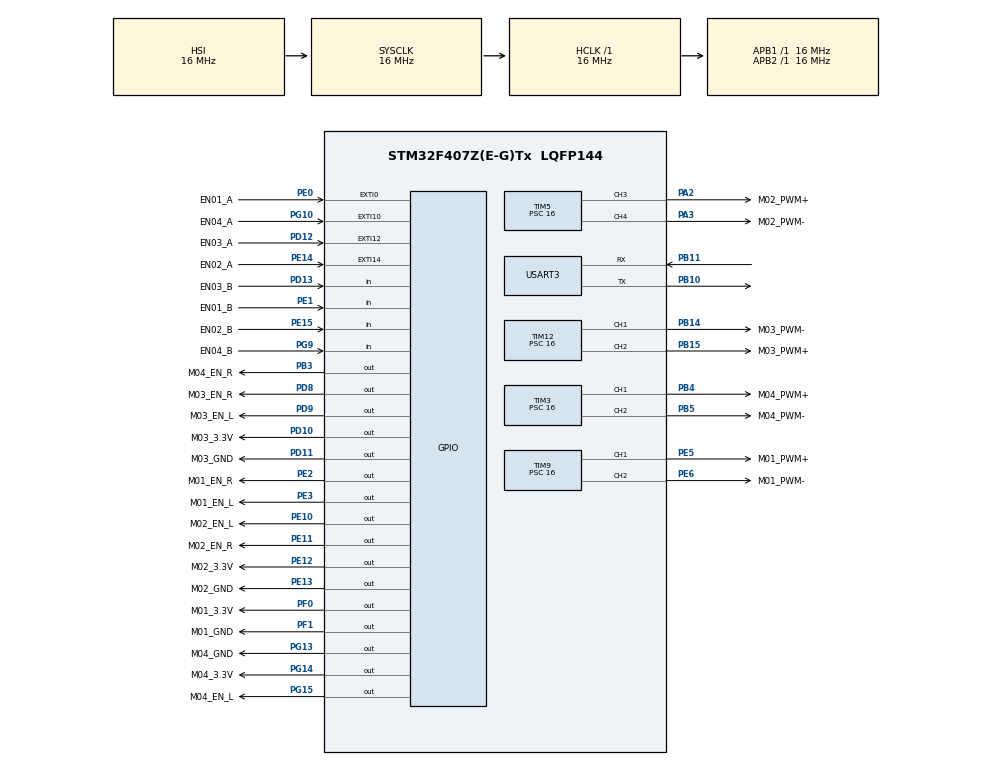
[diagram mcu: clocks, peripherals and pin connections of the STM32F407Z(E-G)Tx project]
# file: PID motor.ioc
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Mcu.Family=STM32F4
Mcu.Name=STM32F407Z(E-G)Tx
Mcu.Package=LQFP144
NVIC.EXTI0_IRQn=true\:2\:0\:true\:false\:true\:true\:true
NVIC.EXTI15_10_IRQn=true\:2\:0\:true\:false\:true\:true\:true
NVIC.PriorityGroup=NVIC_PRIORITYGROUP_4
NVIC.TIM2_IRQn=true\:1\:0\:true\:false\:true\:true\:true
NVIC.USART3_IRQn=true\:0\:0\:false\:false\:true\:true\:true
PA13.Mode=Serial_Wire
PA13.Signal=SYS_JTMS-SWDIO
PA14.Mode=Serial_Wire
PA14.Signal=SYS_JTCK-SWCLK
PA2.GPIO_Label=M02_PWM+
PA2.Signal=S_TIM5_CH3
PA3.GPIO_Label=M02_PWM-
PA3.Signal=S_TIM5_CH4
PB10.Mode=Asynchronous
PB10.Signal=USART3_TX
PB11.Mode=Asynchronous
PB11.Signal=USART3_RX
PB14.GPIO_Label=M03_PWM-
PB14.Signal=S_TIM12_CH1
PB15.GPIO_Label=M03_PWM+
PB15.Signal=S_TIM12_CH2
PB3.GPIO_Label=M04_EN_R
PB3.PinState=GPIO_PIN_RESET
PB3.Signal=GPIO_Output
PB4.GPIO_Label=M04_PWM+
PB4.Signal=S_TIM3_CH1
PB5.GPIO_Label=M04_PWM-
PB5.Signal=S_TIM3_CH2
PD10.GPIO_Label=M03_3.3V
PD10.PinState=GPIO_PIN_SET
PD10.Signal=GPIO_Output
PD11.GPIO_Label=M03_GND
PD11.Signal=GPIO_Output
PD12.GPIO_Label=EN03_A
PD12.GPIO_ModeDefaultEXTI=GPIO_MODE_IT_FALLING
PD12.GPIO_PuPd=GPIO_PULLUP
PD12.Signal=GPXTI12
PD13.GPIO_Label=EN03_B
PD13.Signal=GPIO_Input
PD8.GPIO_Label=M03_EN_R
PD8.PinState=GPIO_PIN_RESET
PD8.Signal=GPIO_Output
PD9.GPIO_Label=M03_EN_L
PD9.PinState=GPIO_PIN_RESET
PD9.Signal=GPIO_Output
PE0.GPIO_Label=EN01_A
PE0.GPIO_ModeDefaultEXTI=GPIO_MODE_IT_FALLING
PE0.GPIO_PuPd=GPIO_PULLUP
PE0.Signal=GPXTI0
PE1.GPIO_Label=EN01_B
PE1.Signal=GPIO_Input
PE10.GPIO_Label=M02_EN_L
PE10.PinState=GPIO_PIN_RESET
PE10.Signal=GPIO_Output
PE11.GPIO_Label=M02_EN_R
PE11.PinState=GPIO_PIN_RESET
PE11.Signal=GPIO_Output
PE12.GPIO_Label=M02_3.3V
PE12.PinState=GPIO_PIN_SET
PE12.Signal=GPIO_Output
PE13.GPIO_Label=M02_GND
PE13.Signal=GPIO_Output
PE14.GPIO_Label=EN02_A
PE14.GPIO_ModeDefaultEXTI=GPIO_MODE_IT_FALLING
PE14.GPIO_PuPd=GPIO_PULLUP
PE14.Signal=GPXTI14
PE15.GPIO_Label=EN02_B
PE15.Signal=GPIO_Input
PE2.GPIO_Label=M01_EN_R
PE2.PinState=GPIO_PIN_RESET
PE2.Signal=GPIO_Output
PE3.GPIO_Label=M01_EN_L
PE3.PinState=GPIO_PIN_RESET
PE3.Signal=GPIO_Output
PE5.GPIO_Label=M01_PWM+
PE5.Signal=S_TIM9_CH1
PE6.GPIO_Label=M01_PWM-
PE6.Signal=S_TIM9_CH2
PF0.GPIO_Label=M01_3.3V
PF0.PinState=GPIO_PIN_SET
PF0.Signal=GPIO_Output
PF1.GPIO_Label=M01_GND
PF1.Signal=GPIO_Output
PG10.GPIO_Label=EN04_A
PG10.GPIO_ModeDefaultEXTI=GPIO_MODE_IT_FALLING
PG10.GPIO_PuPd=GPIO_PULLUP
PG10.Signal=GPXTI10
PG13.GPIO_Label=M04_GND
PG13.Signal=GPIO_Output
PG14.GPIO_Label=M04_3.3V
PG14.PinState=GPIO_PIN_SET
PG14.Signal=GPIO_Output
PG15.GPIO_Label=M04_EN_L
PG15.PinState=GPIO_PIN_RESET
PG15.Signal=GPIO_Output
PG9.GPIO_Label=EN04_B
PG9.Signal=GPIO_Input
ProjectManager.HeapSize=0x200
ProjectManager.StackSize=0x400
ProjectManager.TargetToolchain=MDK-ARM V5.27
RCC.AHBFreq_Value=16000000
RCC.APB1Freq_Value=16000000
RCC.APB2Freq_Value=16000000
RCC.CortexFreq_Value=16000000
RCC.HSE_VALUE=25000000
RCC.HSI_VALUE=16000000
RCC.LSE_VALUE=32768
RCC.SYSCLKFreq_VALUE=16000000
RCC.VCOOutputFreq_Value=192000000
SH.S_TIM12_CH1.0=TIM12_CH1,PWM Generation1 CH1
SH.S_TIM12_CH2.0=TIM12_CH2,PWM Generation2 CH2
SH.S_TIM3_CH1.0=TIM3_CH1,PWM Generation1 CH1
SH.S_TIM3_CH2.0=TIM3_CH2,PWM Generation2 CH2
SH.S_TIM5_CH3.0=TIM5_CH3,PWM Generation3 CH3
SH.S_TIM5_CH4.0=TIM5_CH4,PWM Generation4 CH4
SH.S_TIM9_CH1.0=TIM9_CH1,PWM Generation1 CH1
SH.S_TIM9_CH2.0=TIM9_CH2,PWM Generation2 CH2
TIM12.Channel-PWM\ Generation1\ CH1=TIM_CHANNEL_1
TIM12.Channel-PWM\ Generation2\ CH2=TIM_CHANNEL_2
TIM12.Period=999
TIM12.Prescaler=16
TIM2.Period=99
TIM2.Prescaler=16000
TIM3.Channel-PWM\ Generation1\ CH1=TIM_CHANNEL_1
TIM3.Channel-PWM\ Generation2\ CH2=TIM_CHANNEL_2
TIM3.Period=999
TIM3.Prescaler=16
TIM5.Channel-PWM\ Generation3\ CH3=TIM_CHANNEL_3
TIM5.Channel-PWM\ Generation4\ CH4=TIM_CHANNEL_4
TIM5.Period=999
TIM5.Prescaler=16
TIM9.Channel-PWM\ Generation1\ CH1=TIM_CHANNEL_1
TIM9.Channel-PWM\ Generation2\ CH2=TIM_CHANNEL_2
TIM9.Period=999
TIM9.Prescaler=16
USART3.VirtualMode=VM_ASYNC
VP_TIM12_VS_ClockSourceINT.Mode=Internal
VP_TIM2_VS_ClockSourceINT.Mode=Internal
VP_TIM3_VS_ClockSourceINT.Mode=Internal
VP_TIM5_VS_ClockSourceINT.Mode=Internal
VP_TIM9_VS_ClockSourceINT.Mode=Internal
board=custom

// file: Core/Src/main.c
/* USER CODE BEGIN Header */
/**
  ******************************************************************************
  * @file           : main.c
  * @brief          : Main program body
  ******************************************************************************
  * @attention
  *
  * <h2><center>&copy; Copyright (c) 2020 STMicroelectronics.
  * All rights reserved.</center></h2>
  *
  * This software component is licensed by ST under BSD 3-Clause license,
  * the "License"; You may not use this file except in compliance with the
  * License. You may obtain a copy of the License at:
  *                        opensource.org/licenses/BSD-3-Clause
  *
  ******************************************************************************
  */
/* USER CODE END Header */
#include "main.h"

/* USER CODE BEGIN Includes */
#include "stdio.h"
#include "stdlib.h"
#include "string.h"
#include "math.h"
/* USER CODE END Includes */

TIM_HandleTypeDef htim2;
TIM_HandleTypeDef htim3;
TIM_HandleTypeDef htim5;
TIM_HandleTypeDef htim9;
TIM_HandleTypeDef htim12;

UART_HandleTypeDef huart3;

/* USER CODE BEGIN PV */
// UART variable
uint8_t rx_data;
int rx_index = 0;
char rx_buffer[25];
char temp[100];

int check_var = 0;
//encoder variable
int pulse_counter1 = 0, pulse_counter2 = 0, pulse_counter3 = 0, pulse_counter4 = 0;

//velocity variable
float M_PI = 3.14;
double k = 0.707106;// 1/can bac 2 cua 2
float vx = 0, vy = 0, w_angle = 0;// toc do doc/ngang/goc(rad/s) cua Robot
float w_reference1_temp = 0, w_reference2_temp = 0, w_reference3_temp = 0, w_reference4_temp = 0;// toc do goc tham chieu cua robot
float w_reference1 = 0, w_reference2 = 0, w_reference3 = 0, w_reference4 = 0;// chuyen doi gia tri toc do goc  tham chieu sang rad/s
float w1 = 0, w2 = 0, w3 = 0, w4 = 0;// toc do hien tai
float e1 = 0, e2 = 0, e3 = 0, e4 = 0;// sai so giua xung yeu cau va xung thuc te
float pre_e1 = 0, pre_e2 = 0, pre_e3 = 0, pre_e4 = 0;// luu gia tri sai so truoc do. De tinh toan su thay doi cua sai so giua 2 lan
float const max_pwm = 350;

//robot variable
float const d_robot = 0.28;	//robot radius(khoang cach tu Robot den truc cua banh xe , banh kinh quay)
float const r_wheel = 0.075; //bk banh xe

//PID parameters
float kP = 2, kI = 0.08, kD = 0;

float pPart1 = 0, pPart2 = 0, pPart3 = 0, pPart4 = 0;
float iPart1 = 0, iPart2 = 0, iPart3 = 0, iPart4 = 0;
float dPart1 = 0, dPart2 = 0, dPart3 = 0, dPart4 = 0;
float PID_signal1 = 0, PID_signal2 = 0, PID_signal3 = 0, PID_signal4 = 0;
// tin hieu duong(quay thuan) va am(nghich)
float signal_pos1 = 0, signal_neg1 = 0;
float signal_pos2 = 0, signal_neg2 = 0;
float signal_pos3 = 0, signal_neg3 = 0;
float signal_pos4 = 0, signal_neg4 = 0;

// Posion calcalate
float w1_rad = 0, w2_rad = 0, w3_rad = 0, w4_rad = 0;// toc do hien tai ( Rad/s)
float v_wheel1 = 0, v_wheel2 = 0, v_wheel3 = 0, v_wheel4 = 0; // van toc cua banh xe bang toc do goc * ban kinh banh xe sang van toc tuýen tính
float Vxx = 0, Vyy = 0, Omega = 0;// van toc tuyen tinh
float delta_x = 0, delta_y = 0, delta_Theta = 0;// thay doi vi tri x,y,goc quay cua robot sau moi buoc lap
float x_robot = 0, y_robot = 0, Theta = 0;// vi tri x,y, goc quay robot trong khong gian.
float const dt = 0.1;// thoi gian lay mau

/* USER CODE END PV */

void SystemClock_Config(void);
static void MX_GPIO_Init(void);
static void MX_TIM3_Init(void);
static void MX_TIM2_Init(void);
static void MX_USART3_UART_Init(void);
static void MX_TIM9_Init(void);
static void MX_TIM12_Init(void);
static void MX_TIM5_Init(void);

/* USER CODE BEGIN 0 */
void Init_Motor1()
{
	////Enable built-in chip H-bridge
	HAL_GPIO_WritePin(GPIOF, GPIO_PIN_0, 1);			//bridge1 3.3V
	HAL_GPIO_WritePin(GPIOF, GPIO_PIN_1, 0);			//bridge1 GND
	////Enable H-bridge
	HAL_GPIO_WritePin(GPIOE, GPIO_PIN_2, 1);			//bridge1 EN_R
	HAL_GPIO_WritePin(GPIOE, GPIO_PIN_3, 1);			//bridge1 EN_L
	////Start PWM
	//PWM Motor 1
	HAL_TIM_PWM_Start(&htim9, TIM_CHANNEL_1);			//Motor1 +
	HAL_TIM_PWM_Start(&htim9, TIM_CHANNEL_2);			//Motor1 -

	__HAL_TIM_SetCompare(&htim9, TIM_CHANNEL_1, 0);
	__HAL_TIM_SetCompare(&htim9, TIM_CHANNEL_2, 0);
}

void Init_Motor2()
{
	////Enable built-in chip H-bridge
	HAL_GPIO_WritePin(GPIOE, GPIO_PIN_12, 1);			//bridge1 3.3V
	HAL_GPIO_WritePin(GPIOE, GPIO_PIN_13, 0);			//bridge1 GND
	////Enable H-bridge
	HAL_GPIO_WritePin(GPIOE, GPIO_PIN_11, 1);			//bridge1 EN_R
	HAL_GPIO_WritePin(GPIOE, GPIO_PIN_10, 1);			//bridge1 EN_L
	////Start PWM
	//PWM Motor 2
	HAL_TIM_PWM_Start(&htim5, TIM_CHANNEL_3);			//Motor2 +
	HAL_TIM_PWM_Start(&htim5, TIM_CHANNEL_4);			//Motor2 -

	__HAL_TIM_SetCompare(&htim5,TIM_CHANNEL_3, 0);
	__HAL_TIM_SetCompare(&htim5,TIM_CHANNEL_4, 0);

}

void Init_Motor3()
{
	////Enable built-in chip H-bridge
	HAL_GPIO_WritePin(GPIOD, GPIO_PIN_10, 1);			//bridge1 3.3V
	HAL_GPIO_WritePin(GPIOD, GPIO_PIN_11, 0);			//bridge1 GND
	////Enable H-bridge
	HAL_GPIO_WritePin(GPIOD, GPIO_PIN_8, 1);			//bridge1 EN_R
	HAL_GPIO_WritePin(GPIOD, GPIO_PIN_9, 1);			//bridge1 EN_L
	////Start PWM
	//PWM Motor 3
	HAL_TIM_PWM_Start(&htim12, TIM_CHANNEL_1);		//Motor3 +
	HAL_TIM_PWM_Start(&htim12, TIM_CHANNEL_2);		//Motor3 -

	__HAL_TIM_SetCompare(&htim12,TIM_CHANNEL_1, 0);
	__HAL_TIM_SetCompare(&htim12,TIM_CHANNEL_2, 0);
}

void Init_Motor4()
{
	////Enable built-in chip H-bridge
	HAL_GPIO_WritePin(GPIOG, GPIO_PIN_14, 1);			//bridge1 3.3V
	HAL_GPIO_WritePin(GPIOG, GPIO_PIN_13, 0);			//bridge1 GND
	////Enable H-bridge
	HAL_GPIO_WritePin(GPIOB, GPIO_PIN_3, 1);			//bridge1 EN_R
	HAL_GPIO_WritePin(GPIOG, GPIO_PIN_15, 1);			//bridge1 EN_L
	////Start PWM
	//PWM Motor 4
	HAL_TIM_PWM_Start(&htim3, TIM_CHANNEL_1);			//Motor4 +
	HAL_TIM_PWM_Start(&htim3, TIM_CHANNEL_2);			//Motor4 -

	__HAL_TIM_SetCompare(&htim3,TIM_CHANNEL_1, 0);
	__HAL_TIM_SetCompare(&htim3,TIM_CHANNEL_2, 0);
}

void check_w_ref()
{
	sprintf(temp, "vx_ref = %.2f\n", vx);
	HAL_UART_Transmit(&huart3, (uint8_t *)temp, strlen(temp), 10);
	HAL_Delay(100);
	sprintf(temp, "vy_ref = %.2f\n", vy);
	HAL_UART_Transmit(&huart3, (uint8_t *)temp, strlen(temp), 10);
	HAL_Delay(100);
	sprintf(temp, "w_ref = %.2f\n", w_angle);
	HAL_UART_Transmit(&huart3, (uint8_t *)temp, strlen(temp), 10);
	HAL_Delay(100);

	sprintf(temp, "w1_temp = %.2f, w1_ref = %.2f\n", w_reference1_temp ,w_reference1);
	HAL_UART_Transmit(&huart3, (uint8_t *)temp, strlen(temp), 10);
	HAL_Delay(100);
	sprintf(temp, "w2_temp = %.2f, w2_ref = %.2f\n", w_reference2_temp ,w_reference2);
	HAL_UART_Transmit(&huart3, (uint8_t *)temp, strlen(temp), 10);
	HAL_Delay(100);
	sprintf(temp, "w3_temp = %.2f, w3_ref = %.2f\n", w_reference3_temp ,w_reference3);
	HAL_UART_Transmit(&huart3, (uint8_t *)temp, strlen(temp), 10);
	HAL_Delay(100);
	sprintf(temp, "w4_temp = %.2f, w4_ref = %.2f\n", w_reference4_temp ,w_reference4);
	HAL_UART_Transmit(&huart3, (uint8_t *)temp, strlen(temp), 10);
	HAL_Delay(100);
	HAL_Delay(2000);
}

void signal_feedback_PID_parameter()
{
	sprintf(temp, "P%.2fp\n", kP);
	HAL_UART_Transmit(&huart3, (uint8_t *)temp, strlen(temp), 10);
	HAL_Delay(100);
	sprintf(temp, "I%.2fi\n", kI);
	HAL_UART_Transmit(&huart3, (uint8_t *)temp, strlen(temp), 10);
	HAL_Delay(100);
	sprintf(temp, "D%.2fd\n", kD);
	HAL_UART_Transmit(&huart3, (uint8_t *)temp, strlen(temp), 10);
	HAL_Delay(2000);
}

void signal_feedback_w_wheel()
{
	sprintf(temp, "w1 = %.2f rpm r\n", w1);
	HAL_UART_Transmit(&huart3, (uint8_t *)temp, strlen(temp), 10);
	HAL_Delay(100);
	sprintf(temp, "w2 = %.2f rpm r\n", w2);
	HAL_UART_Transmit(&huart3, (uint8_t *)temp, strlen(temp), 10);
	HAL_Delay(100);
	sprintf(temp, "w3 = %.2f rpm r\n", w3);
	HAL_UART_Transmit(&huart3, (uint8_t *)temp, strlen(temp), 10);
	HAL_Delay(100);
	sprintf(temp, "w4 = %.2f rpm r\n", w4);
	HAL_UART_Transmit(&huart3, (uint8_t *)temp, strlen(temp), 10);
	HAL_Delay(2000);
}

void signal_feedback_error()
{
	sprintf(temp, "e1 = %.2f rpm r\n", e1);
	HAL_UART_Transmit(&huart3, (uint8_t *)temp, strlen(temp), 10);
	HAL_Delay(100);
	sprintf(temp, "e2 = %.2f rpm r\n", e2);
	HAL_UART_Transmit(&huart3, (uint8_t *)temp, strlen(temp), 10);
	HAL_Delay(100);
	sprintf(temp, "e3 = %.2f rpm r\n", e3);
	HAL_UART_Transmit(&huart3, (uint8_t *)temp, strlen(temp), 10);
	HAL_Delay(100);
	sprintf(temp, "e4 = %.2f rpm r\n", e4);
	HAL_UART_Transmit(&huart3, (uint8_t *)temp, strlen(temp), 10);
	HAL_Delay(2000);
}

void position_feedback()
{
	sprintf(temp, "%.2fj %.2fk %.2fl ", Vxx, Vyy, Omega);
	HAL_UART_Transmit(&huart3, (uint8_t *)temp, strlen(temp), 10);
	HAL_Delay(50);
}

/* USER CODE END 0 */

int main(void)
{

  /* MCU Configuration--------------------------------------------------------*/

  /* Reset of all peripherals, Initializes the Flash interface and the Systick. */
  HAL_Init();

  /* Configure the system clock */
  SystemClock_Config();

  /* Initialize all configured peripherals */
  MX_GPIO_Init();
  MX_TIM3_Init();
  MX_TIM2_Init();
  MX_USART3_UART_Init();
  MX_TIM9_Init();
  MX_TIM12_Init();
  MX_TIM5_Init();
  /* USER CODE BEGIN 2 */
  ////Start Timer Interrupt for sampling time!!!
  HAL_TIM_Base_Start_IT(&htim2);
  ////Start UART Receive interupt
  HAL_UART_Receive_IT(&huart3, &rx_data, 1);

  Init_Motor1();
  Init_Motor2();
  Init_Motor3();
  Init_Motor4();

  //check_var = 5;
  /* USER CODE END 2 */

  /* Infinite loop */
  /* USER CODE BEGIN WHILE */
  check_var = 1;
  while (1)
  {
    /* USER CODE END WHILE */

    /* USER CODE BEGIN 3 */
	  if(check_var == 0)
	  {
		  check_w_ref();
	  }
	  if(check_var == 1)
	  {
		  signal_feedback_w_wheel();
	  }
	  if(check_var == 2)
	  {
		  signal_feedback_error();
	  }
	  if(check_var == 3)
	  {
		  signal_feedback_PID_parameter();
	  }
	  if(check_var == 4)
	  {
		  position_feedback();
	  }
  }
  /* USER CODE END 3 */
}

void SystemClock_Config(void)
{
  RCC_OscInitTypeDef RCC_OscInitStruct = {0};
  RCC_ClkInitTypeDef RCC_ClkInitStruct = {0};

  /** Configure the main internal regulator output voltage
  */
  __HAL_RCC_PWR_CLK_ENABLE();
  __HAL_PWR_VOLTAGESCALING_CONFIG(PWR_REGULATOR_VOLTAGE_SCALE1);
  /** Initializes the RCC Oscillators according to the specified parameters
  * in the RCC_OscInitTypeDef structure.
  */
  RCC_OscInitStruct.OscillatorType = RCC_OSCILLATORTYPE_HSI;
  RCC_OscInitStruct.HSIState = RCC_HSI_ON;
  RCC_OscInitStruct.HSICalibrationValue = RCC_HSICALIBRATION_DEFAULT;
  RCC_OscInitStruct.PLL.PLLState = RCC_PLL_NONE;
  if (HAL_RCC_OscConfig(&RCC_OscInitStruct) != HAL_OK)
  {
    Error_Handler();
  }
  /** Initializes the CPU, AHB and APB buses clocks
  */
  RCC_ClkInitStruct.ClockType = RCC_CLOCKTYPE_HCLK|RCC_CLOCKTYPE_SYSCLK
                              |RCC_CLOCKTYPE_PCLK1|RCC_CLOCKTYPE_PCLK2;
  RCC_ClkInitStruct.SYSCLKSource = RCC_SYSCLKSOURCE_HSI;
  RCC_ClkInitStruct.AHBCLKDivider = RCC_SYSCLK_DIV1;
  RCC_ClkInitStruct.APB1CLKDivider = RCC_HCLK_DIV1;
  RCC_ClkInitStruct.APB2CLKDivider = RCC_HCLK_DIV1;

  if (HAL_RCC_ClockConfig(&RCC_ClkInitStruct, FLASH_LATENCY_0) != HAL_OK)
  {
    Error_Handler();
  }
}

static void MX_TIM2_Init(void)
{

  TIM_ClockConfigTypeDef sClockSourceConfig = {0};
  TIM_MasterConfigTypeDef sMasterConfig = {0};

  htim2.Instance = TIM2;
  htim2.Init.Prescaler = 16000;
  htim2.Init.CounterMode = TIM_COUNTERMODE_UP;
  htim2.Init.Period = 99;
  htim2.Init.ClockDivision = TIM_CLOCKDIVISION_DIV1;
  htim2.Init.AutoReloadPreload = TIM_AUTORELOAD_PRELOAD_DISABLE;
  if (HAL_TIM_Base_Init(&htim2) != HAL_OK)
  {
    Error_Handler();
  }
  sClockSourceConfig.ClockSource = TIM_CLOCKSOURCE_INTERNAL;
  if (HAL_TIM_ConfigClockSource(&htim2, &sClockSourceConfig) != HAL_OK)
  {
    Error_Handler();
  }
  sMasterConfig.MasterOutputTrigger = TIM_TRGO_RESET;
  sMasterConfig.MasterSlaveMode = TIM_MASTERSLAVEMODE_DISABLE;
  if (HAL_TIMEx_MasterConfigSynchronization(&htim2, &sMasterConfig) != HAL_OK)
  {
    Error_Handler();
  }

}

static void MX_TIM3_Init(void)
{

  TIM_ClockConfigTypeDef sClockSourceConfig = {0};
  TIM_MasterConfigTypeDef sMasterConfig = {0};
  TIM_OC_InitTypeDef sConfigOC = {0};

  htim3.Instance = TIM3;
  htim3.Init.Prescaler = 16;
  htim3.Init.CounterMode = TIM_COUNTERMODE_UP;
  htim3.Init.Period = 999;
  htim3.Init.ClockDivision = TIM_CLOCKDIVISION_DIV1;
  htim3.Init.AutoReloadPreload = TIM_AUTORELOAD_PRELOAD_DISABLE;
  if (HAL_TIM_Base_Init(&htim3) != HAL_OK)
  {
    Error_Handler();
  }
  sClockSourceConfig.ClockSource = TIM_CLOCKSOURCE_INTERNAL;
  if (HAL_TIM_ConfigClockSource(&htim3, &sClockSourceConfig) != HAL_OK)
  {
    Error_Handler();
  }
  if (HAL_TIM_PWM_Init(&htim3) != HAL_OK)
  {
    Error_Handler();
  }
  sMasterConfig.MasterOutputTrigger = TIM_TRGO_RESET;
  sMasterConfig.MasterSlaveMode = TIM_MASTERSLAVEMODE_DISABLE;
  if (HAL_TIMEx_MasterConfigSynchronization(&htim3, &sMasterConfig) != HAL_OK)
  {
    Error_Handler();
  }
  sConfigOC.OCMode = TIM_OCMODE_PWM1;
  sConfigOC.Pulse = 0;
  sConfigOC.OCPolarity = TIM_OCPOLARITY_HIGH;
  sConfigOC.OCFastMode = TIM_OCFAST_DISABLE;
  if (HAL_TIM_PWM_ConfigChannel(&htim3, &sConfigOC, TIM_CHANNEL_1) != HAL_OK)
  {
    Error_Handler();
  }
  if (HAL_TIM_PWM_ConfigChannel(&htim3, &sConfigOC, TIM_CHANNEL_2) != HAL_OK)
  {
    Error_Handler();
  }
  HAL_TIM_MspPostInit(&htim3);

}

static void MX_TIM5_Init(void)
{

  TIM_ClockConfigTypeDef sClockSourceConfig = {0};
  TIM_MasterConfigTypeDef sMasterConfig = {0};
  TIM_OC_InitTypeDef sConfigOC = {0};

  htim5.Instance = TIM5;
  htim5.Init.Prescaler = 16;
  htim5.Init.CounterMode = TIM_COUNTERMODE_UP;
  htim5.Init.Period = 999;
  htim5.Init.ClockDivision = TIM_CLOCKDIVISION_DIV1;
  htim5.Init.AutoReloadPreload = TIM_AUTORELOAD_PRELOAD_DISABLE;
  if (HAL_TIM_Base_Init(&htim5) != HAL_OK)
  {
    Error_Handler();
  }
  sClockSourceConfig.ClockSource = TIM_CLOCKSOURCE_INTERNAL;
  if (HAL_TIM_ConfigClockSource(&htim5, &sClockSourceConfig) != HAL_OK)
  {
    Error_Handler();
  }
  if (HAL_TIM_PWM_Init(&htim5) != HAL_OK)
  {
    Error_Handler();
  }
  sMasterConfig.MasterOutputTrigger = TIM_TRGO_RESET;
  sMasterConfig.MasterSlaveMode = TIM_MASTERSLAVEMODE_DISABLE;
  if (HAL_TIMEx_MasterConfigSynchronization(&htim5, &sMasterConfig) != HAL_OK)
  {
    Error_Handler();
  }
  sConfigOC.OCMode = TIM_OCMODE_PWM1;
  sConfigOC.Pulse = 0;
  sConfigOC.OCPolarity = TIM_OCPOLARITY_HIGH;
  sConfigOC.OCFastMode = TIM_OCFAST_DISABLE;
  if (HAL_TIM_PWM_ConfigChannel(&htim5, &sConfigOC, TIM_CHANNEL_3) != HAL_OK)
  {
    Error_Handler();
  }
  if (HAL_TIM_PWM_ConfigChannel(&htim5, &sConfigOC, TIM_CHANNEL_4) != HAL_OK)
  {
    Error_Handler();
  }
  HAL_TIM_MspPostInit(&htim5);

}

static void MX_TIM9_Init(void)
{

  TIM_ClockConfigTypeDef sClockSourceConfig = {0};
  TIM_OC_InitTypeDef sConfigOC = {0};

  htim9.Instance = TIM9;
  htim9.Init.Prescaler = 16;
  htim9.Init.CounterMode = TIM_COUNTERMODE_UP;
  htim9.Init.Period = 999;
  htim9.Init.ClockDivision = TIM_CLOCKDIVISION_DIV1;
  htim9.Init.AutoReloadPreload = TIM_AUTORELOAD_PRELOAD_DISABLE;
  if (HAL_TIM_Base_Init(&htim9) != HAL_OK)
  {
    Error_Handler();
  }
  sClockSourceConfig.ClockSource = TIM_CLOCKSOURCE_INTERNAL;
  if (HAL_TIM_ConfigClockSource(&htim9, &sClockSourceConfig) != HAL_OK)
  {
    Error_Handler();
  }
  if (HAL_TIM_PWM_Init(&htim9) != HAL_OK)
  {
    Error_Handler();
  }
  sConfigOC.OCMode = TIM_OCMODE_PWM1;
  sConfigOC.Pulse = 0;
  sConfigOC.OCPolarity = TIM_OCPOLARITY_HIGH;
  sConfigOC.OCFastMode = TIM_OCFAST_DISABLE;
  if (HAL_TIM_PWM_ConfigChannel(&htim9, &sConfigOC, TIM_CHANNEL_1) != HAL_OK)
  {
    Error_Handler();
  }
  if (HAL_TIM_PWM_ConfigChannel(&htim9, &sConfigOC, TIM_CHANNEL_2) != HAL_OK)
  {
    Error_Handler();
  }
  HAL_TIM_MspPostInit(&htim9);

}

static void MX_TIM12_Init(void)
{

  TIM_ClockConfigTypeDef sClockSourceConfig = {0};
  TIM_OC_InitTypeDef sConfigOC = {0};

  htim12.Instance = TIM12;
  htim12.Init.Prescaler = 16;
  htim12.Init.CounterMode = TIM_COUNTERMODE_UP;
  htim12.Init.Period = 999;
  htim12.Init.ClockDivision = TIM_CLOCKDIVISION_DIV1;
  htim12.Init.AutoReloadPreload = TIM_AUTORELOAD_PRELOAD_DISABLE;
  if (HAL_TIM_Base_Init(&htim12) != HAL_OK)
  {
    Error_Handler();
  }
  sClockSourceConfig.ClockSource = TIM_CLOCKSOURCE_INTERNAL;
  if (HAL_TIM_ConfigClockSource(&htim12, &sClockSourceConfig) != HAL_OK)
  {
    Error_Handler();
  }
  if (HAL_TIM_PWM_Init(&htim12) != HAL_OK)
  {
    Error_Handler();
  }
  sConfigOC.OCMode = TIM_OCMODE_PWM1;
  sConfigOC.Pulse = 0;
  sConfigOC.OCPolarity = TIM_OCPOLARITY_HIGH;
  sConfigOC.OCFastMode = TIM_OCFAST_DISABLE;
  if (HAL_TIM_PWM_ConfigChannel(&htim12, &sConfigOC, TIM_CHANNEL_1) != HAL_OK)
  {
    Error_Handler();
  }
  if (HAL_TIM_PWM_ConfigChannel(&htim12, &sConfigOC, TIM_CHANNEL_2) != HAL_OK)
  {
    Error_Handler();
  }
  HAL_TIM_MspPostInit(&htim12);

}

static void MX_USART3_UART_Init(void)
{

  huart3.Instance = USART3;
  huart3.Init.BaudRate = 115200;
  huart3.Init.WordLength = UART_WORDLENGTH_8B;
  huart3.Init.StopBits = UART_STOPBITS_1;
  huart3.Init.Parity = UART_PARITY_NONE;
  huart3.Init.Mode = UART_MODE_TX_RX;
  huart3.Init.HwFlowCtl = UART_HWCONTROL_NONE;
  huart3.Init.OverSampling = UART_OVERSAMPLING_16;
  if (HAL_UART_Init(&huart3) != HAL_OK)
  {
    Error_Handler();
  }

}

static void MX_GPIO_Init(void)
{
  GPIO_InitTypeDef GPIO_InitStruct = {0};

  /* GPIO Ports Clock Enable */
  __HAL_RCC_GPIOE_CLK_ENABLE();
  __HAL_RCC_GPIOF_CLK_ENABLE();
  __HAL_RCC_GPIOA_CLK_ENABLE();
  __HAL_RCC_GPIOB_CLK_ENABLE();
  __HAL_RCC_GPIOD_CLK_ENABLE();
  __HAL_RCC_GPIOG_CLK_ENABLE();

  /*Configure GPIO pin Output Level */
  HAL_GPIO_WritePin(GPIOE, M01_EN_R_Pin|M01_EN_L_Pin|M02_EN_L_Pin|M02_EN_R_Pin
                          |M02_GND_Pin, GPIO_PIN_RESET);

  /*Configure GPIO pin Output Level */
  HAL_GPIO_WritePin(M01_3_3V_GPIO_Port, M01_3_3V_Pin, GPIO_PIN_SET);

  /*Configure GPIO pin Output Level */
  HAL_GPIO_WritePin(M01_GND_GPIO_Port, M01_GND_Pin, GPIO_PIN_RESET);

  /*Configure GPIO pin Output Level */
  HAL_GPIO_WritePin(M02_3_3V_GPIO_Port, M02_3_3V_Pin, GPIO_PIN_SET);

  /*Configure GPIO pin Output Level */
  HAL_GPIO_WritePin(GPIOD, M03_EN_R_Pin|M03_EN_L_Pin|M03_GND_Pin, GPIO_PIN_RESET);

  /*Configure GPIO pin Output Level */
  HAL_GPIO_WritePin(M03_3_3V_GPIO_Port, M03_3_3V_Pin, GPIO_PIN_SET);

  /*Configure GPIO pin Output Level */
  HAL_GPIO_WritePin(GPIOG, M04_GND_Pin|M04_EN_L_Pin, GPIO_PIN_RESET);

  /*Configure GPIO pin Output Level */
  HAL_GPIO_WritePin(M04_3_3V_GPIO_Port, M04_3_3V_Pin, GPIO_PIN_SET);

  /*Configure GPIO pin Output Level */
  HAL_GPIO_WritePin(M04_EN_R_GPIO_Port, M04_EN_R_Pin, GPIO_PIN_RESET);

  /*Configure GPIO pins : M01_EN_R_Pin M01_EN_L_Pin M02_EN_L_Pin M02_EN_R_Pin
                           M02_3_3V_Pin M02_GND_Pin */
  GPIO_InitStruct.Pin = M01_EN_R_Pin|M01_EN_L_Pin|M02_EN_L_Pin|M02_EN_R_Pin
                          |M02_3_3V_Pin|M02_GND_Pin;
  GPIO_InitStruct.Mode = GPIO_MODE_OUTPUT_PP;
  GPIO_InitStruct.Pull = GPIO_NOPULL;
  GPIO_InitStruct.Speed = GPIO_SPEED_FREQ_LOW;
  HAL_GPIO_Init(GPIOE, &GPIO_InitStruct);

  /*Configure GPIO pins : M01_3_3V_Pin M01_GND_Pin */
  GPIO_InitStruct.Pin = M01_3_3V_Pin|M01_GND_Pin;
  GPIO_InitStruct.Mode = GPIO_MODE_OUTPUT_PP;
  GPIO_InitStruct.Pull = GPIO_NOPULL;
  GPIO_InitStruct.Speed = GPIO_SPEED_FREQ_LOW;
  HAL_GPIO_Init(GPIOF, &GPIO_InitStruct);

  /*Configure GPIO pins : EN02_A_Pin EN01_A_Pin */
  GPIO_InitStruct.Pin = EN02_A_Pin|EN01_A_Pin;
  GPIO_InitStruct.Mode = GPIO_MODE_IT_FALLING;
  GPIO_InitStruct.Pull = GPIO_PULLUP;
  HAL_GPIO_Init(GPIOE, &GPIO_InitStruct);

  /*Configure GPIO pins : EN02_B_Pin EN01_B_Pin */
  GPIO_InitStruct.Pin = EN02_B_Pin|EN01_B_Pin;
  GPIO_InitStruct.Mode = GPIO_MODE_INPUT;
  GPIO_InitStruct.Pull = GPIO_NOPULL;
  HAL_GPIO_Init(GPIOE, &GPIO_InitStruct);

  /*Configure GPIO pins : M03_EN_R_Pin M03_EN_L_Pin M03_3_3V_Pin M03_GND_Pin */
  GPIO_InitStruct.Pin = M03_EN_R_Pin|M03_EN_L_Pin|M03_3_3V_Pin|M03_GND_Pin;
  GPIO_InitStruct.Mode = GPIO_MODE_OUTPUT_PP;
  GPIO_InitStruct.Pull = GPIO_NOPULL;
  GPIO_InitStruct.Speed = GPIO_SPEED_FREQ_LOW;
  HAL_GPIO_Init(GPIOD, &GPIO_InitStruct);

  /*Configure GPIO pin : EN03_A_Pin */
  GPIO_InitStruct.Pin = EN03_A_Pin;
  GPIO_InitStruct.Mode = GPIO_MODE_IT_FALLING;
  GPIO_InitStruct.Pull = GPIO_PULLUP;
  HAL_GPIO_Init(EN03_A_GPIO_Port, &GPIO_InitStruct);

  /*Configure GPIO pin : EN03_B_Pin */
  GPIO_InitStruct.Pin = EN03_B_Pin;
  GPIO_InitStruct.Mode = GPIO_MODE_INPUT;
  GPIO_InitStruct.Pull = GPIO_NOPULL;
  HAL_GPIO_Init(EN03_B_GPIO_Port, &GPIO_InitStruct);

  /*Configure GPIO pin : EN04_B_Pin */
  GPIO_InitStruct.Pin = EN04_B_Pin;
  GPIO_InitStruct.Mode = GPIO_MODE_INPUT;
  GPIO_InitStruct.Pull = GPIO_NOPULL;
  HAL_GPIO_Init(EN04_B_GPIO_Port, &GPIO_InitStruct);

  /*Configure GPIO pin : EN04_A_Pin */
  GPIO_InitStruct.Pin = EN04_A_Pin;
  GPIO_InitStruct.Mode = GPIO_MODE_IT_FALLING;
  GPIO_InitStruct.Pull = GPIO_PULLUP;
  HAL_GPIO_Init(EN04_A_GPIO_Port, &GPIO_InitStruct);

  /*Configure GPIO pins : M04_GND_Pin M04_3_3V_Pin M04_EN_L_Pin */
  GPIO_InitStruct.Pin = M04_GND_Pin|M04_3_3V_Pin|M04_EN_L_Pin;
  GPIO_InitStruct.Mode = GPIO_MODE_OUTPUT_PP;
  GPIO_InitStruct.Pull = GPIO_NOPULL;
  GPIO_InitStruct.Speed = GPIO_SPEED_FREQ_LOW;
  HAL_GPIO_Init(GPIOG, &GPIO_InitStruct);

  /*Configure GPIO pin : M04_EN_R_Pin */
  GPIO_InitStruct.Pin = M04_EN_R_Pin;
  GPIO_InitStruct.Mode = GPIO_MODE_OUTPUT_PP;
  GPIO_InitStruct.Pull = GPIO_NOPULL;
  GPIO_InitStruct.Speed = GPIO_SPEED_FREQ_LOW;
  HAL_GPIO_Init(M04_EN_R_GPIO_Port, &GPIO_InitStruct);

  /* EXTI interrupt init*/
  HAL_NVIC_SetPriority(EXTI0_IRQn, 2, 0);
  HAL_NVIC_EnableIRQ(EXTI0_IRQn);

  HAL_NVIC_SetPriority(EXTI15_10_IRQn, 2, 0);
  HAL_NVIC_EnableIRQ(EXTI15_10_IRQn);

}

/* USER CODE BEGIN 4 */
void cal_vel_ref(float vx, float vy, float w_angle)
{
	//calculate ref for each wheel
	w_reference1_temp = (1/r_wheel)*(vx*(-k) + vy*k + w_angle*d_robot);		    //(rad/s)
	w_reference2_temp = (1/r_wheel)*(vx*(-k) + vy*(-k) + w_angle*d_robot);		//(rad/s)
	w_reference3_temp = (1/r_wheel)*(vx*k + vy*(-k) + w_angle*d_robot);		    //(rad/s)
	w_reference4_temp = (1/r_wheel)*(vx*k + vy*k + w_angle*d_robot);		    //(rad/s)

	//convert to RPM//vong/phut
	w_reference1 = (w_reference1_temp)*60/(2*M_PI);
	w_reference2 = (w_reference2_temp)*60/(2*M_PI);
	w_reference3 = (w_reference3_temp)*60/(2*M_PI);
	w_reference4 = (w_reference4_temp)*60/(2*M_PI);
}

void PID_controller_wheel1(float w_reference1)
{
	w1 = (float)(pulse_counter1)*2.35294;
	pulse_counter1 = 0;
	if(w_reference1 == 0)
	{
		signal_pos1 = 0;
		signal_neg1 = 0;
	}
	else
	{
		e1 = w_reference1 - w1;
		pPart1 = kP*e1;
		iPart1 += kI*e1*0.1;
		dPart1 = kD*(e1 - pre_e1)*10;
		PID_signal1 += pPart1 + iPart1 + dPart1;//vong/phut

		if (PID_signal1 > max_pwm) PID_signal1 = max_pwm;
		if (PID_signal1 < -max_pwm) PID_signal1 = -max_pwm;

		if (PID_signal1 >= 0)
		{	//quay thuan
			signal_pos1 = PID_signal1;
			signal_neg1 = 0;
		}
		else
		{	//quay nguoc
			signal_pos1 = 0;
			signal_neg1 = -PID_signal1;
		}
//		if(signal_pos1 > max_pwm) signal_pos1 = max_pwm;
//		if(signal_neg1 > max_pwm) signal_neg1 = max_pwm;
		pre_e1 = e1;
	}
	//__HAL_TIM_SetCompare(&htim9, TIM_CHANNEL_1, signal_pos1);
	//__HAL_TIM_SetCompare(&htim9, TIM_CHANNEL_2, signal_neg1);

}
void PID_controller_wheel2(float w_reference2)
{
	w2 = (float)(pulse_counter2)*2.35294;
	pulse_counter2 = 0;
	if(w_reference2 == 0)
	{
		signal_pos2 = 0;
		signal_neg2 = 0;
	}
	else
	{
		e2 = w_reference2 - w2;
		pPart2 = kP*e2;
		iPart2 += kI*e2*0.1;
		dPart2 = kD*(e2 - pre_e2)*10;
		PID_signal2 += pPart2 + iPart2 + dPart2;

		if (PID_signal2 > max_pwm) PID_signal2 = max_pwm;
		if (PID_signal2 < -max_pwm) PID_signal2 = -max_pwm;

		if (PID_signal2 >= 0)
		{	//quay thuan
			signal_pos2 = PID_signal2;
			signal_neg2 = 0;
		}
		else
		{	//quay nguoc
			signal_pos2 = 0;
			signal_neg2 = -PID_signal2;
		}
//		if(signal_pos2 > max_pwm) signal_pos2 = max_pwm;
//		if(signal_neg2 > max_pwm) signal_neg2 = max_pwm;
		pre_e2 = e2;
	}
	//__HAL_TIM_SetCompare(&htim5, TIM_CHANNEL_3, (int)(signal_pos2));
	//__HAL_TIM_SetCompare(&htim5, TIM_CHANNEL_4, (int)(signal_neg2));
}
void PID_controller_wheel3(float w_reference3)
{
	w3 = (float)(pulse_counter3)*2.35294;
	pulse_counter3 = 0;
	if(w_reference3 == 0)
	{
		signal_pos3 = 0;
		signal_neg3 = 0;
	}
	else
	{
		e3 = w_reference3 - w3;
		pPart3 = kP*e3;
		iPart3 += kI*e3*0.1;
		dPart3 = kD*(e3 - pre_e3)*10;
		PID_signal3 += pPart3 + iPart3 + dPart3;

		if (PID_signal3 > max_pwm) PID_signal3 = max_pwm;
		if (PID_signal3 < -max_pwm) PID_signal3 = -max_pwm;

		if (PID_signal3 >= 0)
		{	//quay thuan
			signal_pos3 = PID_signal3;
			signal_neg3 = 0;
		}
		else
		{	//quay nguoc
			signal_pos3 = 0;
			signal_neg3 = -PID_signal3;
		}
//		if(signal_pos3 > max_pwm) signal_pos3 = max_pwm;
//		if(signal_neg3 > max_pwm) signal_neg3 = max_pwm;
		pre_e3 = e3;
	}
	//__HAL_TIM_SetCompare(&htim12, TIM_CHANNEL_1, signal_pos3);
	//__HAL_TIM_SetCompare(&htim12, TIM_CHANNEL_2, signal_neg3);
}
void PID_controller_wheel4(float w_reference4)
{
	w4 = (float)(pulse_counter4)*2.35294;
	pulse_counter4 = 0;
	if(w_reference4 == 0)
	{
		signal_pos4 = 0;
		signal_neg4 = 0;
	}
	else
	{
		e4 = w_reference4 - w4;
		pPart4 = kP*e4;
		iPart4 += kI*e4*0.1;
		dPart4 = kD*(e4 - pre_e4)*10;
		PID_signal4 += pPart4 + iPart4 + dPart4;

		if (PID_signal4 > max_pwm) PID_signal4 = max_pwm;
		if (PID_signal4 < -max_pwm) PID_signal4 = -max_pwm;

		if (PID_signal4 >= 0)
		{	//quay thuan
			signal_pos4 = PID_signal4;
			signal_neg4 = 0;
		}
		else
		{	//quay nguoc
			signal_pos4 = 0;
			signal_neg4 = -PID_signal4;
		}
//		if(signal_pos4 > max_pwm) signal_pos4 = max_pwm;
//		if(signal_neg4 > max_pwm) signal_neg4 = max_pwm;
		pre_e4 = e4;
	}
	//__HAL_TIM_SetCompare(&htim3, TIM_CHANNEL_1, signal_pos4);
	//__HAL_TIM_SetCompare(&htim3, TIM_CHANNEL_2, signal_neg4);
}

void position_cal()
{
	//read encoder RPM
	w1 = (float)(pulse_counter1)*2.35294;
	w2 = (float)(pulse_counter2)*2.35294;
	w3 = (float)(pulse_counter3)*2.35294;
	w4 = (float)(pulse_counter4)*2.35294;
	//convert to radian/s
	w1_rad = (w1)*(2*M_PI)/60;
	w2_rad = (w2)*(2*M_PI)/60;
	w3_rad = (w3)*(2*M_PI)/60;
	w4_rad = (w4)*(2*M_PI)/60;
	//convert to m/s
	v_wheel1 = w1_rad*r_wheel;
	v_wheel2 = w2_rad*r_wheel;
	v_wheel3 = w3_rad*r_wheel;
	v_wheel4 = w4_rad*r_wheel;
	//convert to vx, vy, theta
	Vxx = (k/2)*(-v_wheel1 - v_wheel2 + v_wheel3 + v_wheel4);
	Vyy = (k/2)*(v_wheel1 - v_wheel2 - v_wheel3 + v_wheel4);
	Omega = r_wheel*(w1_rad + w2_rad + w3_rad + w4_rad)/(4*d_robot);

	delta_x = (Vxx * cos(Theta) - Vyy * sin(Theta))* dt;
	delta_y = (Vxx * sin(Theta) + Vyy * cos(Theta))* dt;
	delta_Theta = Omega * dt;

	x_robot += delta_x;
	y_robot += delta_y;
	Theta += delta_Theta;
}

void HAL_TIM_PeriodElapsedCallback(TIM_HandleTypeDef *htim)
{
	if (htim->Instance == htim2.Instance)
	{
		position_cal();
		cal_vel_ref(vx, vy, w_angle);			//calculate ref for eachwheel
		PID_controller_wheel1(w_reference1);
		PID_controller_wheel2(w_reference2);
		PID_controller_wheel3(w_reference3);
		PID_controller_wheel4(w_reference4);

		__HAL_TIM_SetCompare(&htim9, TIM_CHANNEL_1, signal_pos1);
		__HAL_TIM_SetCompare(&htim9, TIM_CHANNEL_2, signal_neg1);
		__HAL_TIM_SetCompare(&htim5, TIM_CHANNEL_3, signal_pos2);
		__HAL_TIM_SetCompare(&htim5, TIM_CHANNEL_4, signal_neg2);
		__HAL_TIM_SetCompare(&htim12, TIM_CHANNEL_1, signal_pos3);
		__HAL_TIM_SetCompare(&htim12, TIM_CHANNEL_2, signal_neg3);
		__HAL_TIM_SetCompare(&htim3, TIM_CHANNEL_1, signal_pos4);
		__HAL_TIM_SetCompare(&htim3, TIM_CHANNEL_2, signal_neg4);
	}
}
void HAL_GPIO_EXTI_Callback(uint16_t GPIO_Pin)
{
	//Encoder moto1
	if(GPIO_Pin == GPIO_PIN_0)
	{
		if(HAL_GPIO_ReadPin(GPIOE, GPIO_PIN_1) == 0)
		{
			pulse_counter1++;
		}
		else
		{
			pulse_counter1--;
		}
	}
	//Encoder moto2
	if(GPIO_Pin == GPIO_PIN_14)
	{
		if(HAL_GPIO_ReadPin(GPIOE, GPIO_PIN_15) == 0)
		{
			pulse_counter2++;
		}
		else
		{
			pulse_counter2--;
		}
	}
	//Encoder moto3
	if(GPIO_Pin == GPIO_PIN_12)
	{
		if(HAL_GPIO_ReadPin(GPIOD, GPIO_PIN_13) == 0)
		{
			pulse_counter3++;
		}
		else
		{
			pulse_counter3--;
		}
	}
	//Encoder moto3
	if(GPIO_Pin == GPIO_PIN_10)
	{
		if(HAL_GPIO_ReadPin(GPIOG, GPIO_PIN_9) == 0)
		{
			pulse_counter4++;
		}
		else
		{
			pulse_counter4--;
		}
	}
}
void HAL_UART_RxCpltCallback(UART_HandleTypeDef *huart)
{
	if(huart->Instance == huart3.Instance)
	{
		if(rx_index == 0)
		{
			for(int i=0;i<=25;i++)
			{
				rx_buffer[i] = 0;
			}
		}
		rx_buffer[rx_index] = rx_data;
		rx_index++;

		if(rx_data=='p')
		{
			kP=atof(rx_buffer);
			rx_index=0;
		}
		if(rx_data=='i')
		{
			kI=atof(rx_buffer);
			rx_index=0;
		}
		if(rx_data=='d')
		{
			kD=atof(rx_buffer);
			rx_index=0;
		}
		if(rx_data=='x')
		{
			vx=atof(rx_buffer);
			rx_index=0;
		}
		if(rx_data=='y')
		{
			vy=atof(rx_buffer);
			rx_index=0;
		}
		if(rx_data=='w')
		{
			w_angle=atof(rx_buffer);
			rx_index=0;
		}
		if(rx_data=='e')
		{
			check_var=atof(rx_buffer);
			rx_index=0;
		}
		HAL_UART_Receive_IT(&huart3, &rx_data,1);
	}
}
/* USER CODE END 4 */

void Error_Handler(void)
{
}

/************************ (C) COPYRIGHT STMicroelectronics *****END OF FILE****/
